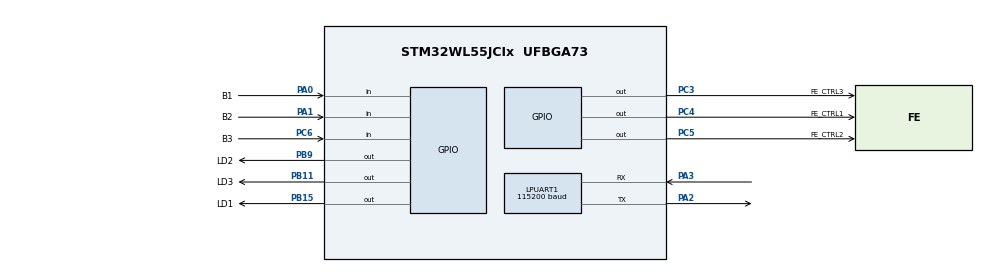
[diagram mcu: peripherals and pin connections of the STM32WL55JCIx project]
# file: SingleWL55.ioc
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LPUART1.BaudRate=115200
Mcu.Family=STM32WL
Mcu.Name=STM32WL55JCIx
Mcu.Package=UFBGA73
NUCLEO-WL55JC1.BUTTON=0
NUCLEO-WL55JC1.BUTTON2=0
NUCLEO-WL55JC1.BUTTON3=0
NUCLEO-WL55JC1.LD1=false
NUCLEO-WL55JC1.LD2=false
NUCLEO-WL55JC1.LD3=false
NUCLEO-WL55JC1.VCP=false
NVIC.HSEM_IRQn=true\:0\:0\:false\:false\:true\:false\:true\:true
NVIC.PriorityGroup=NVIC_PRIORITYGROUP_4
NVIC.SUBGHZ_Radio_IRQn=true\:0\:0\:false\:false\:true\:true\:true\:true
OSC_IN.Mode=HSE-External-Oscillator
OSC_IN.Signal=RCC_OSC_IN
OSC_OUT.Mode=HSE-External-Oscillator
OSC_OUT.Signal=RCC_OSC_OUT
PA0.GPIO_Label=B1
PA0.Signal=GPIO_Input
PA1.GPIO_Label=B2
PA1.Signal=GPIO_Input
PA13.Mode=Serial_Wire
PA13.Signal=DEBUG_JTMS-SWDIO
PA14.Mode=Serial_Wire
PA14.Signal=DEBUG_JTCK-SWCLK
PA2.Mode=Asynchronous
PA2.Signal=LPUART1_TX
PA3.Mode=Asynchronous
PA3.Signal=LPUART1_RX
PB11.GPIO_Label=LD3
PB11.Signal=GPIO_Output
PB15.GPIO_Label=LD1
PB15.Signal=GPIO_Output
PB9.GPIO_Label=LD2
PB9.Signal=GPIO_Output
PC14-OSC32_IN.GPIO_Label=RCC_OSC32_IN
PC14-OSC32_IN.Mode=LSE-External-Oscillator
PC14-OSC32_IN.Signal=RCC_OSC32_IN
PC15-OSC32_OUT.GPIO_Label=RCC_OSC32_OUT
PC15-OSC32_OUT.Mode=LSE-External-Oscillator
PC15-OSC32_OUT.Signal=RCC_OSC32_OUT
PC3.GPIO_Label=FE_CTRL3
PC3.GPIO_Speed=GPIO_SPEED_FREQ_VERY_HIGH
PC3.Signal=GPIO_Output
PC4.GPIO_Label=FE_CTRL1
PC4.GPIO_Speed=GPIO_SPEED_FREQ_VERY_HIGH
PC4.Signal=GPIO_Output
PC5.GPIO_Label=FE_CTRL2
PC5.GPIO_Speed=GPIO_SPEED_FREQ_VERY_HIGH
PC5.Signal=GPIO_Output
PC6.GPIO_Label=B3
PC6.Signal=GPIO_Input
ProjectManager.HeapSize=0x200
ProjectManager.StackSize=0x400
ProjectManager.TargetToolchain=CMake
RCC.AHBFreq_Value=48000000
RCC.APB1Freq_Value=48000000
RCC.APB1TimFreq_Value=48000000
RCC.APB2Freq_Value=48000000
RCC.APB2TimFreq_Value=48000000
RCC.APB3Freq_Value=48000000
RCC.CortexFreq_Value=48000000
RCC.HCLKFreq_Value=48000000
RCC.HSE_VALUE=32000000
RCC.HSI_VALUE=16000000
RCC.LSE_VALUE=32768
RCC.MSIClockRange=RCC_MSIRANGE_11
RCC.SYSCLKFreq_VALUE=48000000
RCC.VCOOutputFreq_Value=384000000
SUBGHZ_PHY.USE_RTC=false
VP_ADV_TRACE_VS_ADV_TRACE.Mode=ADV_TRACE_Enabled
VP_HSEM_VS_HSEM.Mode=HSEM_Activate
VP_MISC_VS_MISC.Mode=MISC_Enabled
VP_NUCLEO-WL55JC1_VS_BSP_COMMON.Mode=COMMON
VP_SEQUENCER_M4_VS_SEQUENCER.Mode=SEQUENCER_Enabled
VP_SUBGHZ_PHY_VS_SubGhzPhy.Mode=SubGhzPhy_Enabled
VP_SUBGHZ_VS_SUBGHZ.Mode=SUBGHZ_Activate
VP_TIMER_VS_TIMER.Mode=TIMER_Enabled
VP_TINY_LPM_VS_TINY_LPM.Mode=TINY_LPM_Enabled
board=NUCLEO-WL55JC1

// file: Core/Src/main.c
/* USER CODE BEGIN Header */
/**
  ******************************************************************************
  * @file           : main.c
  * @brief          : Main program body
  ******************************************************************************
  * @attention
  *
  * Copyright (c) 2025 STMicroelectronics.
  * All rights reserved.
  *
  * This software is licensed under terms that can be found in the LICENSE file
  * in the root directory of this software component.
  * If no LICENSE file comes with this software, it is provided AS-IS.
  *
  ******************************************************************************
  */
/* USER CODE END Header */
#include "main.h"
#include "app_subghz_phy.h"

/* USER CODE BEGIN Includes */
#include "radio.h"
#include <stdio.h>
#include <string.h> // Include string.h for memcpy
/* USER CODE END Includes */

/* USER CODE BEGIN PD */
#define RF_FREQUENCY                                915000000 // New frequency: 915 MHz
#define RX_CHANNEL                                  30        // The channel to listen on
#define FSK_DATARATE                                1200      // 1200 bps
#define FSK_BANDWIDTH                               150000    // 150 kHz
#define FSK_DEVIATION                               8000      // 8 kHz
#define FSK_PREAMBLE_LENGTH                         8         // 8 byte preamble
#define RX_TIMEOUT_VALUE                            0         // Timeout for reception in ms. 0 = continuous RX
#define BUFFER_SIZE                                 64        // Size of the data buffer
/* USER CODE END PD */

UART_HandleTypeDef hlpuart1;

SUBGHZ_HandleTypeDef hsubghz;

/* USER CODE BEGIN PV */
uint8_t rx_buffer[BUFFER_SIZE];
/* USER CODE END PV */

void SystemClock_Config(void);
static void MX_GPIO_Init(void);
static void MX_LPUART1_UART_Init(void);
/* USER CODE BEGIN PFP */
void Configure_Rx_Mode(void);
/* USER CODE END PFP */

/* USER CODE BEGIN 0 */
// Redirect printf() to UART
#ifdef __GNUC__
#define PUTCHAR_PROTOTYPE int __io_putchar(int ch)
#else
#define PUTCHAR_PROTOTYPE int fputc(int ch, FILE *f)
#endif
PUTCHAR_PROTOTYPE {
  HAL_UART_Transmit(&hlpuart1, (uint8_t *)&ch, 1, HAL_MAX_DELAY);
  return ch;
}

// Callback function for when a message is successfully received
void OnRxDone(uint8_t *payload, uint16_t size, int16_t rssi, int8_t snr)
{
  // Print the received message to the console
  printf("Received message on channel %d: ", RX_CHANNEL);
  for (uint16_t i = 0; i < size; i++) {
    printf("0x%02X ", payload[i]);
  }
  printf("\r\n");

  // Re-enter receive mode to listen for the next message
  Radio.Rx(RX_TIMEOUT_VALUE);
}
/* USER CODE END 0 */

int main(void)
{

  /* MCU Configuration--------------------------------------------------------*/

  /* Reset of all peripherals, Initializes the Flash interface and the Systick. */
  HAL_Init();

  /* Configure the system clock */
  SystemClock_Config();

  /* Initialize all configured peripherals */
  MX_GPIO_Init();
  MX_LPUART1_UART_Init();
  MX_SubGHz_Phy_Init();
  /* USER CODE BEGIN 2 */

  // Set up the radio for receiving
  Configure_Rx_Mode();
  printf("Listening for messages on channel %d...\r\n", RX_CHANNEL);

  // Start the radio in continuous receive mode
  Radio.Rx(RX_TIMEOUT_VALUE);

  /* USER CODE END 2 */

  /* Infinite loop */
  /* USER CODE BEGIN WHILE */
  while (1)
  {
    // Toggle the LED to show the program is still running.
    // HAL_GPIO_TogglePin(LD1_GPIO_Port, LD1_Pin);
    // HAL_Delay(500); // 500ms delay for LED blink

    /* USER CODE END WHILE */
    MX_SubGHz_Phy_Process();

  }
}

void SystemClock_Config(void)
{
  RCC_OscInitTypeDef RCC_OscInitStruct = {0};
  RCC_ClkInitTypeDef RCC_ClkInitStruct = {0};

  /** Configure LSE Drive Capability
  */
  HAL_PWR_EnableBkUpAccess();
  __HAL_RCC_LSEDRIVE_CONFIG(RCC_LSEDRIVE_LOW);

  /** Configure the main internal regulator output voltage
  */
  __HAL_PWR_VOLTAGESCALING_CONFIG(PWR_REGULATOR_VOLTAGE_SCALE1);

  /** Initializes the CPU, AHB and APB buses clocks
  */
  RCC_OscInitStruct.OscillatorType = RCC_OSCILLATORTYPE_LSE|RCC_OSCILLATORTYPE_MSI;
  RCC_OscInitStruct.LSEState = RCC_LSE_ON;
  RCC_OscInitStruct.MSIState = RCC_MSI_ON;
  RCC_OscInitStruct.MSICalibrationValue = RCC_MSICALIBRATION_DEFAULT;
  RCC_OscInitStruct.MSIClockRange = RCC_MSIRANGE_11;
  RCC_OscInitStruct.PLL.PLLState = RCC_PLL_NONE;
  if (HAL_RCC_OscConfig(&RCC_OscInitStruct) != HAL_OK)
  {
    Error_Handler();
  }

  /** Configure the SYSCLKSource, HCLK, PCLK1 and PCLK2 clocks dividers
  */
  RCC_ClkInitStruct.ClockType = RCC_CLOCKTYPE_HCLK3|RCC_CLOCKTYPE_HCLK
                              |RCC_CLOCKTYPE_SYSCLK|RCC_CLOCKTYPE_PCLK1
                              |RCC_CLOCKTYPE_PCLK2;
  RCC_ClkInitStruct.SYSCLKSource = RCC_SYSCLKSOURCE_MSI;
  RCC_ClkInitStruct.AHBCLKDivider = RCC_SYSCLK_DIV1;
  RCC_ClkInitStruct.APB1CLKDivider = RCC_HCLK_DIV1;
  RCC_ClkInitStruct.APB2CLKDivider = RCC_HCLK_DIV1;
  RCC_ClkInitStruct.AHBCLK3Divider = RCC_SYSCLK_DIV1;

  if (HAL_RCC_ClockConfig(&RCC_ClkInitStruct, FLASH_LATENCY_2) != HAL_OK)
  {
    Error_Handler();
  }
}

static void MX_LPUART1_UART_Init(void)
{

  hlpuart1.Instance = LPUART1;
  hlpuart1.Init.BaudRate = 115200;
  hlpuart1.Init.WordLength = UART_WORDLENGTH_8B;
  hlpuart1.Init.StopBits = UART_STOPBITS_1;
  hlpuart1.Init.Parity = UART_PARITY_NONE;
  hlpuart1.Init.Mode = UART_MODE_TX_RX;
  hlpuart1.Init.HwFlowCtl = UART_HWCONTROL_NONE;
  hlpuart1.Init.OneBitSampling = UART_ONE_BIT_SAMPLE_DISABLE;
  hlpuart1.Init.ClockPrescaler = UART_PRESCALER_DIV1;
  hlpuart1.AdvancedInit.AdvFeatureInit = UART_ADVFEATURE_NO_INIT;
  hlpuart1.FifoMode = UART_FIFOMODE_DISABLE;
  if (HAL_UART_Init(&hlpuart1) != HAL_OK)
  {
    Error_Handler();
  }
  if (HAL_UARTEx_SetTxFifoThreshold(&hlpuart1, UART_TXFIFO_THRESHOLD_1_8) != HAL_OK)
  {
    Error_Handler();
  }
  if (HAL_UARTEx_SetRxFifoThreshold(&hlpuart1, UART_RXFIFO_THRESHOLD_1_8) != HAL_OK)
  {
    Error_Handler();
  }
  if (HAL_UARTEx_DisableFifoMode(&hlpuart1) != HAL_OK)
  {
    Error_Handler();
  }

}

void MX_SUBGHZ_Init(void)
{

  hsubghz.Init.BaudratePrescaler = SUBGHZSPI_BAUDRATEPRESCALER_8;
  if (HAL_SUBGHZ_Init(&hsubghz) != HAL_OK)
  {
    Error_Handler();
  }

}

static void MX_GPIO_Init(void)
{
  GPIO_InitTypeDef GPIO_InitStruct = {0};

  /* GPIO Ports Clock Enable */
  __HAL_RCC_GPIOA_CLK_ENABLE();
  __HAL_RCC_GPIOB_CLK_ENABLE();
  __HAL_RCC_GPIOC_CLK_ENABLE();

  /*Configure GPIO pin Output Level */
  HAL_GPIO_WritePin(GPIOB, LD1_Pin|LD2_Pin|LD3_Pin, GPIO_PIN_RESET);

  /*Configure GPIO pin Output Level */
  HAL_GPIO_WritePin(GPIOC, FE_CTRL3_Pin|FE_CTRL2_Pin|FE_CTRL1_Pin, GPIO_PIN_RESET);

  /*Configure GPIO pins : LD1_Pin LD2_Pin LD3_Pin */
  GPIO_InitStruct.Pin = LD1_Pin|LD2_Pin|LD3_Pin;
  GPIO_InitStruct.Mode = GPIO_MODE_OUTPUT_PP;
  GPIO_InitStruct.Pull = GPIO_NOPULL;
  GPIO_InitStruct.Speed = GPIO_SPEED_FREQ_LOW;
  HAL_GPIO_Init(GPIOB, &GPIO_InitStruct);

  /*Configure GPIO pins : FE_CTRL3_Pin FE_CTRL2_Pin FE_CTRL1_Pin */
  GPIO_InitStruct.Pin = FE_CTRL3_Pin|FE_CTRL2_Pin|FE_CTRL1_Pin;
  GPIO_InitStruct.Mode = GPIO_MODE_OUTPUT_PP;
  GPIO_InitStruct.Pull = GPIO_NOPULL;
  GPIO_InitStruct.Speed = GPIO_SPEED_FREQ_VERY_HIGH;
  HAL_GPIO_Init(GPIOC, &GPIO_InitStruct);

  /*Configure GPIO pins : B1_Pin B2_Pin */
  GPIO_InitStruct.Pin = B1_Pin|B2_Pin;
  GPIO_InitStruct.Mode = GPIO_MODE_INPUT;
  GPIO_InitStruct.Pull = GPIO_NOPULL;
  HAL_GPIO_Init(GPIOA, &GPIO_InitStruct);

  /*Configure GPIO pin : B3_Pin */
  GPIO_InitStruct.Pin = B3_Pin;
  GPIO_InitStruct.Mode = GPIO_MODE_INPUT;
  GPIO_InitStruct.Pull = GPIO_NOPULL;
  HAL_GPIO_Init(B3_GPIO_Port, &GPIO_InitStruct);

}

/* USER CODE BEGIN 4 */
// This function configures the radio for 2FSK packet reception.
void Configure_Rx_Mode(void)
{
  // Set the channel/frequency for the radio
  Radio.SetChannel(RF_FREQUENCY);

  // Set the public network setting
  Radio.SetPublicNetwork(true);

  // Set the receive configuration for FSK.
  Radio.SetRxConfig(
      MODEM_FSK,                           // Modem type
      FSK_BANDWIDTH,                       // Bandwidth in Hz
      FSK_DATARATE,                        // Data rate in bps
      0,                                   // Coding rate (not used for FSK)
      FSK_BANDWIDTH,                       // AFC bandwidth (same as main bandwidth for FSK)
      FSK_PREAMBLE_LENGTH,                 // Preamble length in symbols
      0,                                   // Symbol timeout (0 for continuous)
      false,                               // Fixed length packets
      0,                                   // Max payload length (0 for variable)
      true,                                // CRC enable
      false,                               // Frequency hopping off
      0,                                   // Hop period (not used)
      false,                               // IQ inverted (not used for FSK)
      true                                 // Continuous receive
  );

  // Set up the radio callbacks for receiving
  RadioEvents_t RadioEvents;
  RadioEvents.RxDone = OnRxDone;
  RadioEvents.TxDone = NULL;
  RadioEvents.TxTimeout = NULL;
  RadioEvents.RxTimeout = NULL;
  RadioEvents.RxError = NULL;
  Radio.Init(&RadioEvents);
}
/* USER CODE END 4 */

void Error_Handler(void)
{
  __disable_irq();
  while (1)
  {
  }
}
